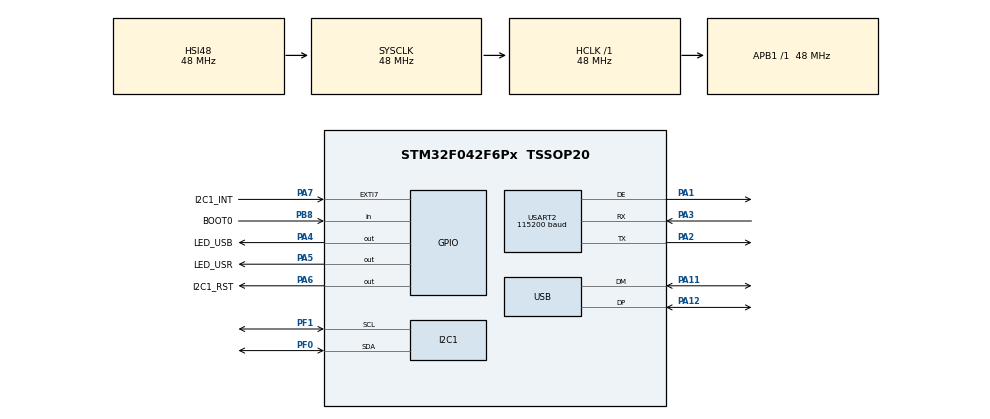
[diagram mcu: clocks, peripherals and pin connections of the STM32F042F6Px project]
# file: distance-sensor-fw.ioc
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Mcu.Family=STM32F0
Mcu.Name=STM32F042F6Px
Mcu.Package=TSSOP20
NVIC.I2C1_IRQn=true\:0\:0\:false\:false\:true
NVIC.USART2_IRQn=true\:0\:0\:false\:false\:true
NVIC.USB_IRQn=true\:0\:0\:false\:false\:true
PA1.Mode=Hardware Flow Control (RS485)
PA1.Signal=USART2_DE
PA11.Mode=Device
PA11.Signal=USB_DM
PA12.Mode=Device
PA12.Signal=USB_DP
PA13.Mode=Serial_Wire
PA13.Signal=SYS_SWDIO
PA14.Mode=Serial_Wire
PA14.Signal=SYS_SWCLK
PA2.Mode=Asynchronous
PA2.Signal=USART2_TX
PA3.Mode=Asynchronous
PA3.Signal=USART2_RX
PA4.GPIO_Label=LED_USB
PA4.PinState=GPIO_PIN_SET
PA4.Signal=GPIO_Output
PA5.GPIO_Label=LED_USR
PA5.PinState=GPIO_PIN_RESET
PA5.Signal=GPIO_Output
PA6.GPIO_Label=I2C1_RST
PA6.PinState=GPIO_PIN_SET
PA6.Signal=GPIO_Output
PA7.GPIO_Label=I2C1_INT
PA7.Signal=GPXTI7
PB8.GPIO_Label=BOOT0
PB8.Signal=GPIO_Input
PF0-OSC_IN.Mode=I2C
PF0-OSC_IN.Signal=I2C1_SDA
PF1-OSC_OUT.Mode=I2C
PF1-OSC_OUT.Signal=I2C1_SCL
ProjectManager.HeapSize=0x200
ProjectManager.StackSize=0x400
ProjectManager.TargetToolchain=Makefile
RCC.AHBFreq_Value=48000000
RCC.APB1Freq_Value=48000000
RCC.APB1TimFreq_Value=48000000
RCC.HCLKFreq_Value=48000000
RCC.SYSCLKFreq_VALUE=48000000
RCC.SYSCLKSource=RCC_SYSCLKSOURCE_HSI48
USART2.BaudRate=115200
USART2.VirtualMode-Asynchronous=VM_ASYNC
USART2.VirtualMode-Hardware\ Flow\ Control\ (RS485)=VM_ASYNC
USART2.WordLength=WORDLENGTH_8B
USB_DEVICE.CLASS_NAME_FS=CDC
USB_DEVICE.VirtualMode=Cdc
USB_DEVICE.VirtualModeFS=Cdc_FS
VP_SYS_VS_PINREMAP.Mode=PINREMAP
VP_USB_DEVICE_VS_USB_DEVICE_CDC_FS.Mode=CDC_FS
board=distance-sensor-fw

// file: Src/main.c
/**
  ******************************************************************************
  * File Name          : main.c
  * Description        : Main program body
  ******************************************************************************
  * This notice applies to any and all portions of this file
  * that are not between comment pairs USER CODE BEGIN and
  * USER CODE END. Other portions of this file, whether
  * inserted by the user or by software development tools
  * are owned by their respective copyright owners.
  *
  * Copyright (c) 2017 STMicroelectronics International N.V.
  * All rights reserved.
  *
  * Redistribution and use in source and binary forms, with or without
  * modification, are permitted, provided that the following conditions are met:
  *
  * 1. Redistribution of source code must retain the above copyright notice,
  *    this list of conditions and the following disclaimer.
  * 2. Redistributions in binary form must reproduce the above copyright notice,
  *    this list of conditions and the following disclaimer in the documentation
  *    and/or other materials provided with the distribution.
  * 3. Neither the name of STMicroelectronics nor the names of other
  *    contributors to this software may be used to endorse or promote products
  *    derived from this software without specific written permission.
  * 4. This software, including modifications and/or derivative works of this
  *    software, must execute solely and exclusively on microcontroller or
  *    microprocessor devices manufactured by or for STMicroelectronics.
  * 5. Redistribution and use of this software other than as permitted under
  *    this license is void and will automatically terminate your rights under
  *    this license.
  *
  * THIS SOFTWARE IS PROVIDED BY STMICROELECTRONICS AND CONTRIBUTORS "AS IS"
  * AND ANY EXPRESS, IMPLIED OR STATUTORY WARRANTIES, INCLUDING, BUT NOT
  * LIMITED TO, THE IMPLIED WARRANTIES OF MERCHANTABILITY, FITNESS FOR A
  * PARTICULAR PURPOSE AND NON-INFRINGEMENT OF THIRD PARTY INTELLECTUAL PROPERTY
  * RIGHTS ARE DISCLAIMED TO THE FULLEST EXTENT PERMITTED BY LAW. IN NO EVENT
  * SHALL STMICROELECTRONICS OR CONTRIBUTORS BE LIABLE FOR ANY DIRECT, INDIRECT,
  * INCIDENTAL, SPECIAL, EXEMPLARY, OR CONSEQUENTIAL DAMAGES (INCLUDING, BUT NOT
  * LIMITED TO, PROCUREMENT OF SUBSTITUTE GOODS OR SERVICES; LOSS OF USE, DATA,
  * OR PROFITS; OR BUSINESS INTERRUPTION) HOWEVER CAUSED AND ON ANY THEORY OF
  * LIABILITY, WHETHER IN CONTRACT, STRICT LIABILITY, OR TORT (INCLUDING
  * NEGLIGENCE OR OTHERWISE) ARISING IN ANY WAY OUT OF THE USE OF THIS SOFTWARE,
  * EVEN IF ADVISED OF THE POSSIBILITY OF SUCH DAMAGE.
  *
  ******************************************************************************
  */
#include "main.h"
#include "stm32f0xx_hal.h"
#include "i2c.h"
#include "usart.h"
#include "usb_device.h"
#include "gpio.h"

/* USER CODE BEGIN Includes */
#include "usbd_cdc_if.h"
#include "vl53l0x_api.h"
#include "vl53l0x_platform.h"
#include <stdbool.h>
/* USER CODE END Includes */

/* USER CODE BEGIN PV */

#define MEASUREMENT_RATE_HZ 30
#define USE_STATUS_LED      1

/* Private variables ---------------------------------------------------------*/

uint8_t last_msg[256];
int last_msg_len = -1;

static void LOG_MSG(const char* msg)
{
    last_msg[0] = '#';
    strncpy(last_msg + 1, msg, sizeof(last_msg) - 3);
    last_msg[sizeof(last_msg) - 1] = '\0';
    int msg_len = strlen(last_msg);
    last_msg[msg_len] = '\n';
    msg_len++;
    last_msg[msg_len] = '\0';
    CDC_Transmit_FS(last_msg, msg_len);
    HAL_UART_Transmit(&huart2, last_msg, msg_len, 5);
    last_msg_len = msg_len;
}
/* USER CODE END PV */

void SystemClock_Config(void);

/* USER CODE BEGIN PFP */
/* Private function prototypes -----------------------------------------------*/

/* USER CODE END PFP */

int main(void)
{

  /* MCU Configuration----------------------------------------------------------*/

  /* Reset of all peripherals, Initializes the Flash interface and the Systick. */
  HAL_Init();

  /* Configure the system clock */
  SystemClock_Config();

  /* Initialize all configured peripherals */
  MX_GPIO_Init();
  MX_I2C1_Init();
  MX_USB_DEVICE_Init();
  MX_USART2_UART_Init();

  /* USER CODE BEGIN 2 */
    bool sensor_error = false;

    //reset sensor
    HAL_GPIO_WritePin(I2C1_RST_GPIO_Port, I2C1_RST_Pin, GPIO_PIN_RESET);
    HAL_Delay(10);
    HAL_GPIO_WritePin(I2C1_RST_GPIO_Port, I2C1_RST_Pin, GPIO_PIN_SET);
    HAL_Delay(5);

    VL53L0X_Dev_t dev;
    dev.addr = 0x52;
    VL53L0X_Error status = VL53L0X_i2c_init();
    status = VL53L0X_DataInit(&dev);
    if (status != VL53L0X_ERROR_NONE) {
        LOG_MSG("data init failed");
        sensor_error = true;
    }

    status = VL53L0X_StaticInit(&dev);
    if (status != VL53L0X_ERROR_NONE) {
        LOG_MSG("static init failed");
        sensor_error = true;
    }

    uint8_t vhv_settings;
    uint8_t phase_cal;
    status = VL53L0X_PerformRefCalibration(&dev, &vhv_settings, &phase_cal);
    if (status != VL53L0X_ERROR_NONE) {
        LOG_MSG("reference calibration failed");
        sensor_error = true;
    }

    uint32_t ref_spad_count;
    uint8_t is_aperture_spads;
    status = VL53L0X_PerformRefSpadManagement(&dev,
        		&ref_spad_count, &is_aperture_spads);
    if (status != VL53L0X_ERROR_NONE) {
        LOG_MSG("spad management failed");
        sensor_error = true;
    }

    status = VL53L0X_SetDeviceMode(&dev, VL53L0X_DEVICEMODE_CONTINUOUS_RANGING);
    if (status != VL53L0X_ERROR_NONE) {
        LOG_MSG("set device mode failed");
        sensor_error = true;
    }

    status = VL53L0X_StartMeasurement(&dev);
    if (status != VL53L0X_ERROR_NONE) {
        LOG_MSG("start measurement failed");
        sensor_error = true;
    }

    if (sensor_error) {
        HAL_GPIO_WritePin(LED_USR_GPIO_Port, LED_USR_Pin, 0);
    }

  /* USER CODE END 2 */

  /* Infinite loop */
    while (1)
    {

  /* USER CODE BEGIN 3 */
        if (sensor_error && last_msg_len > 0) {
            //sensor has logged an error, report last error message
            //in case user has not seen it if using USB
            CDC_Transmit_FS(last_msg, last_msg_len);
            HAL_UART_Transmit(&huart2, last_msg, last_msg_len, 5);
            HAL_Delay(1000);
            continue;
        }

        uint8_t new_data_ready = 0;
        status = VL53L0X_GetMeasurementDataReady(&dev, &new_data_ready);
        if (status != VL53L0X_ERROR_NONE) {
            LOG_MSG("getting measurement data ready flag failed");
        }

        if (new_data_ready) {
            VL53L0X_RangingMeasurementData_t data;
            status = VL53L0X_GetRangingMeasurementData(&dev, &data);
            if (status != VL53L0X_ERROR_NONE)
                LOG_MSG("getting measurement data failed");
#if USE_STATUS_LED
            HAL_GPIO_WritePin(LED_USR_GPIO_Port, LED_USR_Pin, 0);
#endif
            uint8_t buf[32];
            itoa(data.RangeMilliMeter, buf, 10);
            int str_len = strlen(buf);
            buf[str_len] = '\n';
            str_len++;
            CDC_Transmit_FS(buf, str_len);
            HAL_UART_Transmit(&huart2, buf, str_len, 5);
            if (status == VL53L0X_ERROR_NONE)
            {
                status = VL53L0X_ClearInterruptMask(&dev, VL53L0X_REG_SYSTEM_INTERRUPT_GPIO_NEW_SAMPLE_READY);
            }

#if USE_STATUS_LED
            HAL_GPIO_WritePin(LED_USR_GPIO_Port, LED_USR_Pin, 1);
#endif
        }

        HAL_Delay(1000 / MEASUREMENT_RATE_HZ);
    }
  /* USER CODE END 3 */

}

/** System Clock Configuration
*/
void SystemClock_Config(void)
{

  RCC_OscInitTypeDef RCC_OscInitStruct;
  RCC_ClkInitTypeDef RCC_ClkInitStruct;
  RCC_PeriphCLKInitTypeDef PeriphClkInit;

    /**Initializes the CPU, AHB and APB busses clocks
    */
  RCC_OscInitStruct.OscillatorType = RCC_OSCILLATORTYPE_HSI|RCC_OSCILLATORTYPE_HSI48;
  RCC_OscInitStruct.HSIState = RCC_HSI_ON;
  RCC_OscInitStruct.HSI48State = RCC_HSI48_ON;
  RCC_OscInitStruct.HSICalibrationValue = 16;
  RCC_OscInitStruct.PLL.PLLState = RCC_PLL_NONE;
  if (HAL_RCC_OscConfig(&RCC_OscInitStruct) != HAL_OK)
  {
    _Error_Handler(__FILE__, __LINE__);
  }

    /**Initializes the CPU, AHB and APB busses clocks
    */
  RCC_ClkInitStruct.ClockType = RCC_CLOCKTYPE_HCLK|RCC_CLOCKTYPE_SYSCLK
                              |RCC_CLOCKTYPE_PCLK1;
  RCC_ClkInitStruct.SYSCLKSource = RCC_SYSCLKSOURCE_HSI48;
  RCC_ClkInitStruct.AHBCLKDivider = RCC_SYSCLK_DIV1;
  RCC_ClkInitStruct.APB1CLKDivider = RCC_HCLK_DIV1;

  if (HAL_RCC_ClockConfig(&RCC_ClkInitStruct, FLASH_LATENCY_1) != HAL_OK)
  {
    _Error_Handler(__FILE__, __LINE__);
  }

  PeriphClkInit.PeriphClockSelection = RCC_PERIPHCLK_USB|RCC_PERIPHCLK_I2C1;
  PeriphClkInit.I2c1ClockSelection = RCC_I2C1CLKSOURCE_HSI;
  PeriphClkInit.UsbClockSelection = RCC_USBCLKSOURCE_HSI48;

  if (HAL_RCCEx_PeriphCLKConfig(&PeriphClkInit) != HAL_OK)
  {
    _Error_Handler(__FILE__, __LINE__);
  }

    /**Configure the Systick interrupt time
    */
  HAL_SYSTICK_Config(HAL_RCC_GetHCLKFreq()/1000);

    /**Configure the Systick
    */
  HAL_SYSTICK_CLKSourceConfig(SYSTICK_CLKSOURCE_HCLK);

  /* SysTick_IRQn interrupt configuration */
  HAL_NVIC_SetPriority(SysTick_IRQn, 0, 0);
}

void _Error_Handler(char * file, int line)
{
  while(1)
  {
  }
}

/************************ (C) COPYRIGHT STMicroelectronics *****END OF FILE****/
